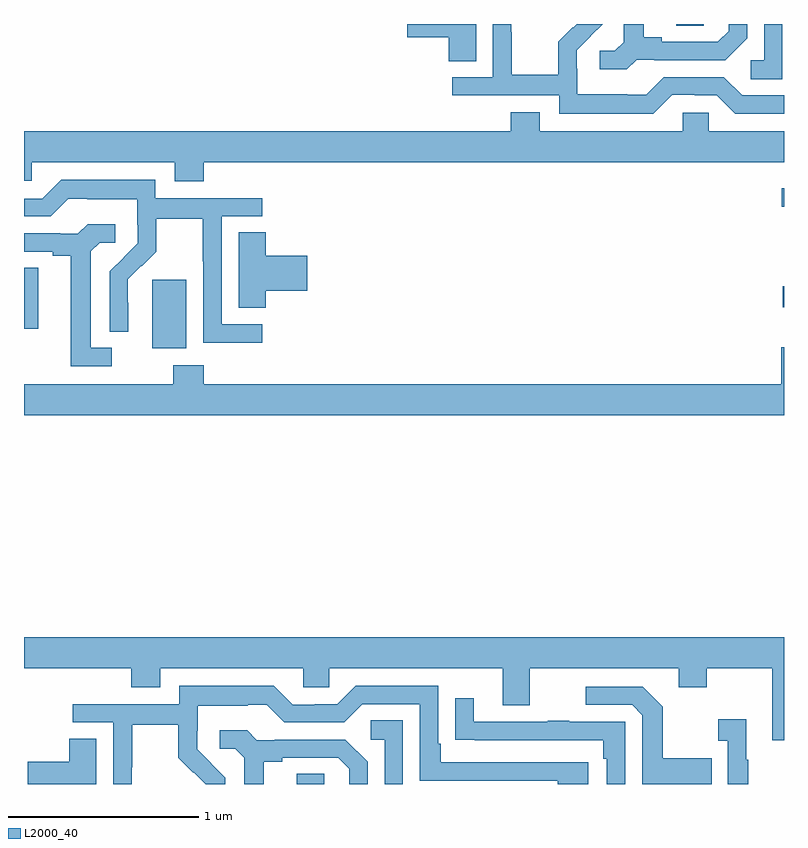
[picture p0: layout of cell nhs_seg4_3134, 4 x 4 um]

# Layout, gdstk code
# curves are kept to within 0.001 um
import gdstk
lib = gdstk.Library(unit=1e-6, precision=1e-09)
def R(c, l, rs):  # rectangles x0, y0, x1, y1
    for r in rs: c.add(gdstk.rectangle(r[:2], r[2:], *l))
def P(c, l, *ps):  # polygons
    for p in ps: c.add(gdstk.Polygon(p, *l))
L2000_40 = (2000, 40)

nhs_seg4_3134 = lib.new_cell('nhs_seg4_3134')
R(nhs_seg4_3134, L2000_40, [(278.435,774.9,278.58,774.953), (277.676,777.194,277.855,777.555), (277,777.297,277.075,777.617), (280.994,777.408,281,777.52), (280.989,777.939,281,778.036), (280.433,778.891,280.578,778.9)])
P(nhs_seg4_3134, L2000_40, [(280.224,778.713),(280.318,778.713),(280.318,778.71),(280.69,778.71),(280.806,778.826),(280.806,778.9),(280.709,778.9),(280.709,778.863),(280.652,778.806),(280.357,778.806),(280.357,778.829),(280.261,778.829),(280.261,778.9),(280.157,778.9),(280.157,778.805),(280.11,778.758),(280.029,778.758),(280.029,778.661),(280.172,778.661)],
  [(280.992,778.9),(280.896,778.9),(280.896,778.71),(280.824,778.71),(280.824,778.609),(280.992,778.609)],
  [(279.379,778.9),(279.018,778.9),(279.018,778.829),(279.236,778.829),(279.236,778.705),(279.379,778.705)],
  [(280.413,778.527),(280.529,778.527),(280.529,778.524),(280.647,778.524),(280.743,778.428),(281,778.428),(281,778.524),(280.779,778.524),(280.683,778.62),(280.368,778.62),(280.275,778.527),(280.175,778.527),(280.175,778.531),(279.912,778.531),(279.912,778.665),(279.91,778.665),(279.91,778.762),(280.046,778.9),(279.91,778.9),(279.891,778.881),(279.888,778.884),(279.811,778.807),(279.811,778.633),(279.567,778.633),(279.567,778.856),(279.564,778.856),(279.564,778.9),(279.468,778.9),(279.468,778.62),(279.255,778.62),(279.255,778.524),(279.816,778.524),(279.816,778.427),(280.313,778.427)],
  [(277.946,778.172),(281,778.172),(281,778.336),(280.605,778.336),(280.605,778.434),(280.467,778.434),(280.467,778.336),(279.715,778.336),(279.715,778.435),(279.563,778.435),(279.563,778.336),(277,778.336),(277,778.074),(277.041,778.074),(277.041,778.172),(277.793,778.172),(277.793,778.073),(277.946,778.073)],
  [(278.254,777.321),(278.04,777.321),(278.04,777.888),(278.254,777.888),(278.254,777.984),(277.692,777.984),(277.692,778.081),(277.195,778.081),(277.095,777.981),(277,777.981),(277,777.888),(277.14,777.888),(277.233,777.981),(277.333,777.981),(277.333,777.977),(277.596,777.977),(277.596,777.843),(277.598,777.843),(277.598,777.746),(277.452,777.598),(277.452,777.28),(277.548,777.28),(277.547,777.557),(277.617,777.627),(277.62,777.624),(277.697,777.701),(277.697,777.876),(277.942,777.876),(277.942,777.652),(277.944,777.652),(277.944,777.223),(278.254,777.223)],
  [(277.462,777.195),(277.351,777.195),(277.351,777.703),(277.398,777.75),(277.48,777.75),(277.48,777.847),(277.336,777.847),(277.284,777.795),(277.19,777.795),(277.19,777.798),(277,777.798),(277,777.702),(277.151,777.702),(277.151,777.68),(277.247,777.68),(277.247,777.099),(277.462,777.099)],
  [(278.273,777.497),(278.491,777.497),(278.491,777.68),(278.273,777.68),(278.273,777.803),(278.129,777.803),(278.129,777.406),(278.273,777.406)],
  [(281,777.199),(280.985,777.199),(280.985,777.004),(277.946,777.004),(277.946,777.103),(277.786,777.103),(277.786,777.004),(277,777.004),(277,776.84),(281,776.84)],
  [(281,775.672),(277,775.672),(277,775.508),(277.565,775.508),(277.565,775.409),(277.717,775.409),(277.717,775.508),(278.469,775.508),(278.469,775.41),(278.607,775.41),(278.607,775.508),(279.521,775.508),(279.521,775.314),(279.661,775.314),(279.661,775.508),(280.445,775.508),(280.445,775.409),(280.593,775.409),(280.593,775.508),(280.937,775.508),(280.937,775.131),(281,775.131)],
  [(277.566,774.988),(277.569,774.988),(277.569,775.212),(277.813,775.212),(277.813,775.037),(277.89,774.96),(277.893,774.963),(277.957,774.9),(278.058,774.9),(278.058,774.934),(277.912,775.082),(277.912,775.179),(277.914,775.179),(277.914,775.313),(278.177,775.313),(278.177,775.317),(278.277,775.317),(278.37,775.224),(278.685,775.224),(278.781,775.32),(279.084,775.32),(279.084,774.918),(279.809,774.918),(279.809,774.9),(279.97,774.9),(279.97,775.014),(279.193,775.014),(279.193,775.111),(279.18,775.111),(279.18,775.416),(278.745,775.416),(278.649,775.32),(278.531,775.32),(278.531,775.317),(278.415,775.317),(278.315,775.417),(277.818,775.417),(277.818,775.32),(277.257,775.32),(277.257,775.224),(277.47,775.224),(277.47,774.9),(277.566,774.9)],
  [(280.619,775.035),(280.363,775.035),(280.363,775.307),(280.257,775.413),(279.957,775.413),(279.957,775.317),(280.2,775.317),(280.254,775.263),(280.254,774.9),(280.619,774.9)],
  [(280.164,775.227),(279.869,775.227),(279.869,775.232),(279.757,775.232),(279.757,775.227),(279.367,775.227),(279.367,775.351),(279.271,775.351),(279.271,775.132),(279.373,775.132),(279.373,775.131),(280.048,775.131),(280.048,775.034),(280.068,775.034),(280.068,774.9),(280.164,774.9)],
  [(280.813,775.027),(280.801,775.027),(280.801,775.24),(280.653,775.24),(280.653,775.127),(280.704,775.127),(280.704,774.9),(280.813,774.9)],
  [(278.994,775.235),(278.826,775.235),(278.826,775.134),(278.898,775.134),(278.898,774.9),(278.994,774.9)],
  [(278.263,775.016),(278.359,775.016),(278.359,775.038),(278.654,775.038),(278.711,774.981),(278.711,774.9),(278.808,774.9),(278.808,775.018),(278.692,775.134),(278.32,775.134),(278.32,775.131),(278.226,775.131),(278.174,775.183),(278.031,775.183),(278.031,775.086),(278.112,775.086),(278.159,775.039),(278.159,774.9),(278.263,774.9)],
  [(277.381,775.139),(277.238,775.139),(277.238,775.016),(277.02,775.016),(277.02,774.9),(277.381,774.9)])

lib.write_gds('nhs_seg4_3134.gds')
